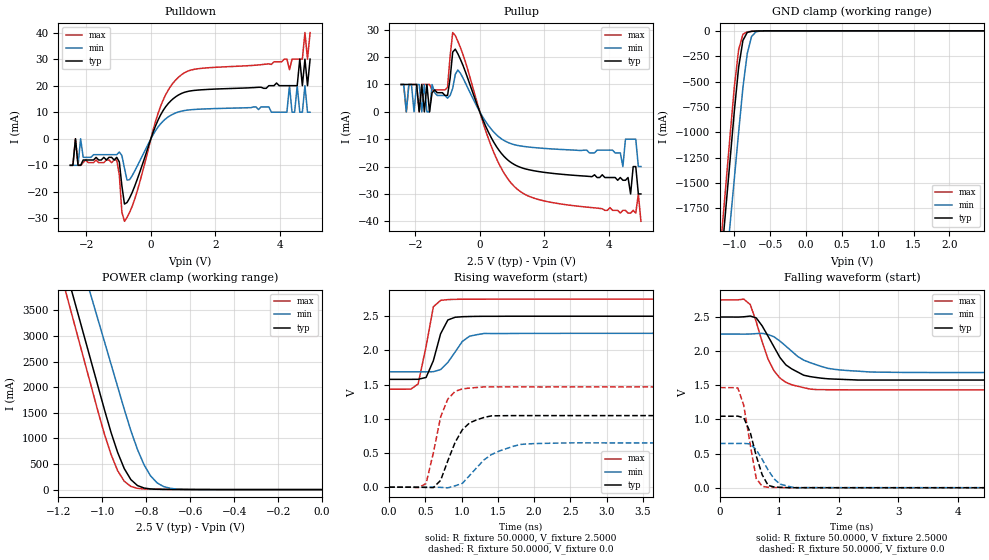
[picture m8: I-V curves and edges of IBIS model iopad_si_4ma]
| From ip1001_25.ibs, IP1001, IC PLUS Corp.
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|   Model iopad_si_4ma
[Model]  iopad_si_4ma
Model_type I/O
Polarity   Non-Inverting
Enable   Active-Low
Vinl =   0.8000V
Vinh =   1.8000V
Vmeas =  1.2500V
C_comp   0.3000pF   0.2400pF   0.3600pF
[Temperature Range]   27.0000   100.0000   0.0
[Voltage Range]   2.5000V   2.2500V   2.7500V
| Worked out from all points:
|   slope of the pulldown table from 0 to 0.375 V, typ, clamps not added: 35.5 ohm
|   slope of the pullup table from 0 to 0.375 V, typ, clamps not added: 38 ohm
|   GND clamp passes 1 mA (typ) near -0.63 V on its own axis
|   POWER clamp passes 1 mA (typ) near -0.57 V on its own axis
|   rising waveform, R_fixture 50.0000, V_fixture 2.5000: 20-80 % time 172ps typ, 231ps min, 147ps max; typ from 1.58 V to 2.5 V
|   rising waveform, R_fixture 50.0000, V_fixture 0.0: 20-80 % time 260ps typ, 424ps min, 202ps max; typ from 0 V to 1.05 V
|   falling waveform, R_fixture 50.0000, V_fixture 2.5000: 20-80 % time 426ps typ, 602ps min, 336ps max; typ from 2.5 V to 1.58 V
|   falling waveform, R_fixture 50.0000, V_fixture 0.0: 20-80 % time 208ps typ, 273ps min, 172ps max; typ from 1.05 V to 0 V
[Pulldown]
|Voltage   I(typ)   I(min)   I(max)
-2.5V     -10mA      -10mA      -10mA
-2.34V    0A         -10mA      0A
-2.26V    -10mA      -10mA      -10mA
-2.18V    -10mA      0A         -10mA
-1.06V    -7mA       -6mA       -8mA
-820mV    -24.6mA    -11.1mA    -31.09mA
780mV     15.9mA     9.775mA    22.27mA
4.22V     20mA       10mA       30mA
4.3V      20mA       20mA       26mA
4.38V     20mA       10mA       30mA
4.54V     20mA       20mA       30mA
4.94V     30mA       10mA       40mA
[Pullup]
|Voltage   I(typ)   I(min)   I(max)
-2.44V    10mA       10mA       10mA
-2.28V    10mA       0A         0A
-2.2V     10mA       10mA       10mA
-2.04V    10mA       0A         10mA
-1.08V    6mA        6mA        8mA
-840mV    21.86mA    8.6mA      28.98mA
1.08V     -19.31mA   -12.02mA   -27.38mA
4.44V     -25mA      -20mA      -36mA
4.68V     -30mA      -10mA      -37mA
4.84V     -20mA      -10mA      -37mA
4.92V     -30mA      -20mA      -30mA
5V        -30mA      -20mA      -40mA
[GND_clamp]
|Voltage   I(typ)   I(min)   I(max)
-2.5V     -12.93A    -12.87A    -12.97A
-1.18V    -2.249A    -2.828A    -2.033A
-1.12V    -1.763A    -2.371A    -1.535A
-1.06V    -1.278A    -1.914A    -1.038A
-1V       -792.5mA   -1.458A    -553.9mA
-940mV    -360.7mA   -1.001A    -186.7mA
-880mV    -94.64mA   -559.3mA   -34.17mA
-820mV    -15.98mA   -224.8mA   -9.643mA
-760mV    -4.328mA   -57.1mA    -5.898mA
-700mV    -2.122mA   -10.8mA    -4.108mA
-640mV    -1.103mA   -2.066mA   -2.655mA
2.48V     17.28pA    560.9nA    -93.93pA
[POWER_clamp]
|Voltage   I(typ)   I(min)   I(max)
-2.49V    24.9A      24.89A     24.94A
-1.17V    4.361A     5.529A     3.923A
-1.14V    3.894A     5.089A     3.445A
-1.11V    3.427A     4.649A     2.967A
-1.05V    2.493A     3.769A     2.012A
-960mV    1.115A     2.449A     684.3mA
-900mV    410.3mA    1.569A     163.2mA
-870mV    195.4mA    1.152A     62.28mA
-810mV    30.55mA    484.8mA    12.48mA
-750mV    6.57mA     129.6mA    6.615mA
-630mV    1.841mA    4.742mA    3.357mA
0V        80.13pA    246.2pA    118.4pA
[Ramp]
| variable   typ   min   max
dV/dt_r  0.6282/0.2601n   0.3887/0.4161n   0.8796/0.2019n
dV/dt_f  0.5538/0.4260n   0.3378/0.5919n   0.7902/0.3362n
R_load = 50.0000
[Rising Waveform]
R_fixture= 50.0000
V_fixture= 2.5000
V_fixture_min= 2.2500
V_fixture_max= 2.7500
|time   V(typ)   V(min)   V(max)
0s        1.577V     1.687V     1.433V
300ps     1.577V     1.687V     1.434V
400ps     1.578V     1.687V     1.51V
510ps     1.605V     1.687V     2.06V
610ps     1.85V      1.689V     2.638V
710ps     2.243V     1.72V      2.732V
810ps     2.445V     1.825V     2.743V
1.01ns    2.493V     2.132V     2.749V
1.31ns    2.499V     2.248V     2.749V
10ns      2.5V       2.25V      2.75V
[Rising Waveform]
R_fixture= 50.0000
V_fixture= 0.0
V_fixture_min= 0.0
V_fixture_max= 0.0
|time   V(typ)   V(min)   V(max)
0s        0V         0V         0V
400ps     70.91uV    -1.634uV   -7.508mV
510ps     -3.186mV   -581.7nV   53.93mV
610ps     -5.299mV   157.2uV    502.7mV
710ps     99.65mV    -2.174mV   1.027V
810ps     387.8mV    -9.573mV   1.291V
1.01ns    840.9mV    56.3mV     1.437V
1.41ns    1.043V     475.9mV    1.467V
1.92ns    1.047V     633.5mV    1.466V
10ns      1.047V     647.9mV    1.466V
[Falling Waveform]
R_fixture= 50.0000
V_fixture= 2.5000
V_fixture_min= 2.2500
V_fixture_max= 2.7500
|time   V(typ)   V(min)   V(max)
0s        2.5V       2.25V      2.75V
400ps     2.503V     2.249V     2.762V
510ps     2.514V     2.251V     2.682V
610ps     2.487V     2.257V     2.43V
810ps     2.217V     2.244V     1.881V
910ps     2.061V     2.21V      1.711V
1.11ns    1.798V     2.073V     1.543V
1.52ns    1.627V     1.831V     1.444V
2.63ns    1.577V     1.693V     1.433V
10ns      1.577V     1.687V     1.433V
[Falling Waveform]
R_fixture= 50.0000
V_fixture= 0.0
V_fixture_min= 0.0
V_fixture_max= 0.0
|time   V(typ)   V(min)   V(max)
0s        1.047V     647.9mV    1.466V
300ps     1.048V     647.8mV    1.461V
400ps     1.024V     649.1mV    1.206V
510ps     808.3mV    641.2mV    624.9mV
610ps     465.5mV    556.1mV    136.4mV
710ps     190mV      415.8mV    20.66mV
810ps     34.11mV    259mV      5.995mV
1.01ns    5.978mV    52.5mV     1.578mV
1.31ns    518.1uV    -2.229mV   336.1uV
10ns      1.929uV    2.171uV    0V
